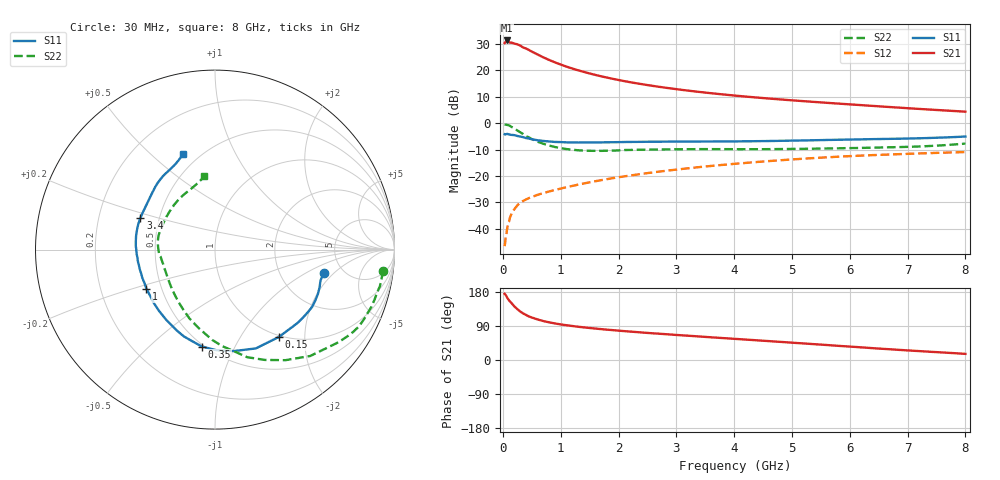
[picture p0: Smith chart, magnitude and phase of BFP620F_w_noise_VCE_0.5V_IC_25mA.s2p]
! Infineon Technologies  Discrete & RF Semiconductors
! BFP620F
! VCE =  0.5 V,  IC =  25 mA
! Common Emitter S-Parameters:  Dec 2014
# GHz  S  MA  R  50
!  f  S11  S21  S12  S22
! GHz  MAG  ANG  MAG  ANG  MAG  ANG  MAG  ANG
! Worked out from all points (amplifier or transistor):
!   95 points, 30 MHz to 8 GHz, reference 50 ohm
!   highest |S21| = 31.4 dB at 70 MHz (marker M1)
!   |S21| within 3 dB of that: start of sweep to 395 MHz
!   unconditionally stable (mu >= 1): 2.47 GHz to end of sweep
!   at 300 MHz: K = 0.31, MSG = 29.8 dB, |S12| = -30.1 dB
!   at 3.3 GHz: K = 1.03, MAG = 13.5 dB, |S12| = -16.8 dB
!   at 8 GHz: K = 1.07, MAG = 6.0 dB, |S12| = -10.9 dB
!   lowest NFmin = 1.00 dB at 450 MHz
!   S11 on the Smith chart (normalised r, x): 30 MHz: 3.55, -1.53; 150 MHz: 0.97, -1.49; 350 MHz: 0.49, -0.75; 1 GHz: 0.41, -0.22; 3.4 GHz: 0.39, +0.17; 8 GHz: 0.41, +0.63
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0.03  0.6197 -12.4  32.94 174.7  0.0047 86.8  0.9446 -7.2
0.06  0.6242 -23.3  36.52 168.7  0.0076 79.7  0.9342 -14.9
0.07  0.6266 -26.8  37.03 165.8  0.0094 79.8  0.9317 -17.4
0.09  0.6237 -34.1  36.2 160.8  0.0121 71.9  0.9211 -22.6
0.12  0.6098 -44.8  33.75 155.0  0.0161 73.6  0.8965 -30.7
0.15  0.6026 -54.0  33.77 150.0  0.0196 70.7  0.8548 -37.6
0.2  0.5958 -67.5  32.28 141.2  0.0237 66.4  0.7953 -48.2
0.25  0.5752 -79.3  31.23 134.3  0.0279 61.7  0.7305 -57.5
0.3  0.5607 -89.1  29.68 127.9  0.0312 59.0  0.6744 -65.7
0.35  0.5449 -97.7  27.25 122.9  0.0337 57.2  0.626 -73.3
0.45  0.5137 -109.8  24.45 115.0  0.0382 54.7  0.54 -85.6
0.6  0.477 -124.5  20.1 107.0  0.0441 53.5  0.4478 -101.5
0.8  0.4523 -139.2  15.83 99.4  0.0511 53.4  0.3786 -117.8
1  0.4401 -150.2  12.95 93.9  0.0579 54.5  0.3379 -131.4
1.4  0.4333 -165.5  9.395 86.1  0.0723 55.3  0.3034 -152.7
1.9  0.4376 -178.5  6.949 78.8  0.0913 55.2  0.3036 -170.5
2.7  0.4478 167.2  4.908 69.4  0.1213 52.4  0.3189 175.4
3.4  0.4509 157.3  3.922 62.0  0.148 49.0  0.324 167.0
4.1  0.4548 148.6  3.278 54.9  0.1739 44.8  0.3228 158.6
5.4  0.4778 135.4  2.53 41.6  0.2199 35.3  0.3305 140.0
6.7  0.5066 122.2  2.027 28.3  0.2565 24.9  0.3509 120.5
8  0.5605 108.8  1.658 16.2  0.2848 14.8  0.4119 98.2
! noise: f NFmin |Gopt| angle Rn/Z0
0.45  1  0.01  10  0.2
0.9  1.04  0.01  11  0.16
1.5  1.06  0.02  -150  0.16
1.8  1.07  0.03  -150  0.16
1.9  1.07  0.04  -150  0.15
2.4  1.1  0.06  -147  0.16
3.5  1.17  0.1  -145  0.16
5.5  1.32  0.18  236  0.12
6  1.36  0.18  258  0.15
